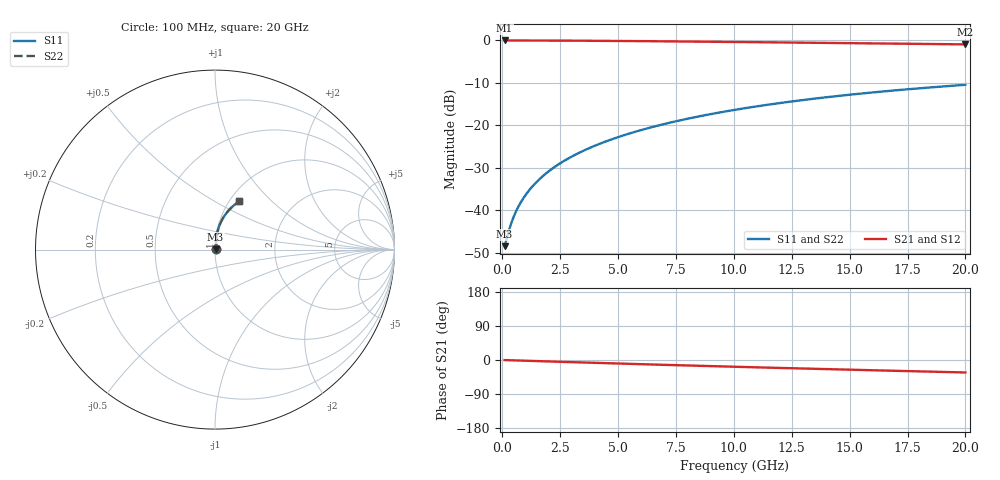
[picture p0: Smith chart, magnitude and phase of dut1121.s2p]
! Touchstone file exported from HFSS 2024.1.0
!  File:  C:/UserFiles/LocalFiles/RDL_TSV_Batchsim/temp_RDL_bottom_1121_1780054865.aedt
!  Generated:  07:42:54 PM May 29, 2026
!  Design:  RDL_bottom
!  Project:  temp_RDL_bottom_1121_1780054865
!  Setup:  Setup1
!  Solution:  Sweep
! Variables:
!  dtsv = 10.80580581um
!  hbump = 3um
!  htsv = 80.92um
!  ldown = 477.12um
!  lrdl = 100um
!  p = 40
!  p1 = 40.18um
!  rhole = 1um
!  t = 450um
!  tdown = 2.64um
!  trdl = 3.915915916um
!  wdown = 20.02um
!  wrdl = 20um
# GHz S MA R 50.000000
! Terminal data exported
! Port[1] = RDL1_T1
! Port[2] = RDL1_T2
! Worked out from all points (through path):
!   200 points, 100 MHz to 20 GHz, reference 50 ohm
!   highest |S21| = -0.03 dB at 100 MHz (marker M1); lowest = -1.0 dB at 20 GHz (marker M2)
!   group delay of S21, straight-line fit = 4.54 ps
!   lowest |S11| = -48.4 dB at 100 MHz (marker M3), VSWR 1.01, Z = 50.3 + j0.162 ohm
!   |S11| at or under -10 dB: start of sweep to end of sweep
!   |S22| runs from -48.4 to -10.5 dB; largest |S21 - S12| = 3.1e-15
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0.1  0.003801 25.0  0.9965 -0.2  0.9965 -0.2  0.003801 25.0
! Gamma 0 0 0 0
! Port Impedance 50 0 50 0
0.3  0.005962 51.8  0.9963 -0.6  0.9963 -0.6  0.005962 51.8
0.4  0.007242 58.0  0.9961 -0.8  0.9961 -0.8  0.007242 58.0
0.6  0.009849 65.5  0.9957 -1.2  0.9957 -1.2  0.009849 65.5
0.7  0.01116 67.9  0.9956 -1.4  0.9956 -1.4  0.01116 67.9
0.9  0.01379 71.6  0.9953 -1.7  0.9953 -1.7  0.01379 71.6
1.2  0.0178 75.2  0.9948 -2.3  0.9948 -2.3  0.0178 75.2
1.4  0.02051 76.9  0.9945 -2.7  0.9945 -2.7  0.02051 76.9
1.7  0.02463 78.8  0.9939 -3.2  0.9939 -3.2  0.02463 78.8
2.2  0.0316 80.8  0.9929 -4.2  0.9929 -4.2  0.0316 80.8
2.8  0.04013 82.1  0.9913 -5.3  0.9913 -5.3  0.04013 82.1
3.5  0.05029 83.0  0.9891 -6.6  0.9891 -6.6  0.05029 82.9
4.2  0.06066 83.3  0.9865 -7.9  0.9865 -7.9  0.06066 83.3
5  0.07274 83.2  0.9832 -9.3  0.9832 -9.3  0.07274 83.2
5.9  0.08661 82.8  0.979 -10.9  0.979 -10.9  0.08661 82.8
6.8  0.1007 82.1  0.9745 -12.5  0.9745 -12.5  0.1007 82.1
8.4  0.1261 80.4  0.9659 -15.2  0.9659 -15.2  0.1261 80.4
10.1  0.1533 78.3  0.9562 -18.0  0.9562 -18.0  0.1532 78.2
11.7  0.1786 76.0  0.9468 -20.5  0.9468 -20.5  0.1786 76.0
13.4  0.2051 73.4  0.9366 -23.2  0.9366 -23.2  0.2051 73.4
16.7  0.2543 68.4  0.9165 -28.1  0.9165 -28.1  0.2543 68.4
20  0.3 63.4  0.8962 -32.9  0.8962 -32.9  0.2999 63.4
